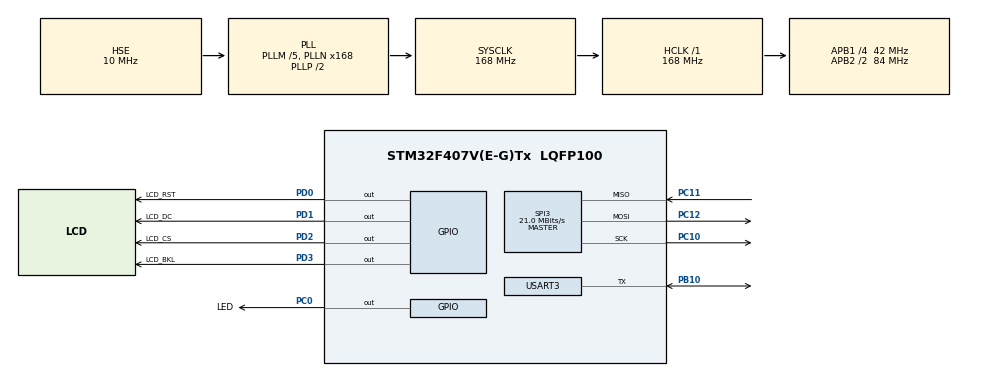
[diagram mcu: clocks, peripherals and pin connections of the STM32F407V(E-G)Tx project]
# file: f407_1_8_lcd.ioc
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Dma.Request0=SPI3_TX
Dma.SPI3_TX.0.Direction=DMA_MEMORY_TO_PERIPH
Dma.SPI3_TX.0.FIFOMode=DMA_FIFOMODE_DISABLE
Dma.SPI3_TX.0.Instance=DMA1_Stream5
Dma.SPI3_TX.0.MemDataAlignment=DMA_MDATAALIGN_BYTE
Dma.SPI3_TX.0.MemInc=DMA_MINC_ENABLE
Dma.SPI3_TX.0.Mode=DMA_NORMAL
Dma.SPI3_TX.0.PeriphDataAlignment=DMA_PDATAALIGN_BYTE
Dma.SPI3_TX.0.PeriphInc=DMA_PINC_DISABLE
Dma.SPI3_TX.0.Priority=DMA_PRIORITY_MEDIUM
Mcu.Family=STM32F4
Mcu.Name=STM32F407V(E-G)Tx
Mcu.Package=LQFP100
NVIC.DMA1_Stream5_IRQn=true\:0\:0\:false\:false\:true\:false\:true\:true
NVIC.PriorityGroup=NVIC_PRIORITYGROUP_4
NVIC.SPI3_IRQn=true\:0\:0\:false\:false\:true\:true\:true\:true
NVIC.TIM2_IRQn=true\:4\:0\:true\:false\:true\:true\:true\:true
NVIC.USART3_IRQn=true\:2\:0\:true\:false\:true\:true\:true\:true
PA13.Mode=Serial_Wire
PA13.Signal=SYS_JTMS-SWDIO
PA14.Mode=Serial_Wire
PA14.Signal=SYS_JTCK-SWCLK
PB10.Mode=Half_duplex(single_wire_mode)
PB10.Signal=USART3_TX
PC0.GPIO_Label=LED
PC0.Signal=GPIO_Output
PC10.Mode=Full_Duplex_Master
PC10.Signal=SPI3_SCK
PC11.Mode=Full_Duplex_Master
PC11.Signal=SPI3_MISO
PC12.Mode=Full_Duplex_Master
PC12.Signal=SPI3_MOSI
PD0.GPIO_Label=LCD_RST
PD0.Signal=GPIO_Output
PD1.GPIO_Label=LCD_DC
PD1.Signal=GPIO_Output
PD2.GPIO_Label=LCD_CS
PD2.Signal=GPIO_Output
PD3.GPIO_Label=LCD_BKL
PD3.Signal=GPIO_Output
PH0-OSC_IN.Mode=HSE-External-Oscillator
PH0-OSC_IN.Signal=RCC_OSC_IN
PH1-OSC_OUT.Mode=HSE-External-Oscillator
PH1-OSC_OUT.Signal=RCC_OSC_OUT
ProjectManager.HeapSize=0x2000
ProjectManager.StackSize=0x400
ProjectManager.TargetToolchain=STM32CubeIDE
RCC.48MHZClocksFreq_Value=48000000
RCC.AHBFreq_Value=168000000
RCC.APB1CLKDivider=RCC_HCLK_DIV4
RCC.APB1Freq_Value=42000000
RCC.APB1TimFreq_Value=84000000
RCC.APB2CLKDivider=RCC_HCLK_DIV2
RCC.APB2Freq_Value=84000000
RCC.APB2TimFreq_Value=168000000
RCC.CortexFreq_Value=168000000
RCC.HCLKFreq_Value=168000000
RCC.HSE_VALUE=10000000
RCC.HSI_VALUE=16000000
RCC.LSE_VALUE=32768
RCC.PLLM=5
RCC.PLLN=168
RCC.PLLQ=7
RCC.PLLSourceVirtual=RCC_PLLSOURCE_HSE
RCC.SYSCLKFreq_VALUE=168000000
RCC.SYSCLKSource=RCC_SYSCLKSOURCE_PLLCLK
RCC.VCOOutputFreq_Value=336000000
SPI3.BaudRatePrescaler=SPI_BAUDRATEPRESCALER_2
SPI3.CalculateBaudRate=21.0 MBits/s
SPI3.Direction=SPI_DIRECTION_2LINES
SPI3.Mode=SPI_MODE_MASTER
SPI3.VirtualType=VM_MASTER
TIM2.Period=84000
TIM2.Prescaler=1000
USART3.VirtualMode=VM_ASYNC
VP_CRC_VS_CRC.Mode=CRC_Activate
VP_TIM2_VS_ClockSourceINT.Mode=Internal
board=custom

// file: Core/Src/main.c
/* USER CODE BEGIN Header */
/**
  ******************************************************************************
  * @file           : main.c
  * @brief          : Main program body
  ******************************************************************************
  * @attention
  *
  * Copyright (c) 2023 STMicroelectronics.
  * All rights reserved.
  *
  * This software is licensed under terms that can be found in the LICENSE file
  * in the root directory of this software component.
  * If no LICENSE file comes with this software, it is provided AS-IS.
  *
  ******************************************************************************
  */
/* USER CODE END Header */
#include "main.h"

/* USER CODE BEGIN Includes */
#include "OneWire.h"
#include "GUI.h"
#include "Dialog.h"
#include "stdio.h"
#include "math.h"
#include "string.h"
/* USER CODE END Includes */

/* USER CODE BEGIN PTD */
extern GUI_CONST_STORAGE GUI_BITMAP bmlinux;
extern GUI_CONST_STORAGE GUI_FONT GUI_FontBNazanin36;
extern GUI_CONST_STORAGE GUI_FONT GUI_FontBNazanin18;
extern GUI_CONST_STORAGE GUI_FONT GUI_FontBTitr24;
extern GUI_CONST_STORAGE GUI_FONT GUI_Font2Nazanin30;
TEXT_Handle texts[5];
extern WM_HWIN CreateWindow(WM_HWIN parent);
WM_HWIN my_win;
/* USER CODE END PTD */

CRC_HandleTypeDef hcrc;

SPI_HandleTypeDef hspi3;
DMA_HandleTypeDef hdma_spi3_tx;

TIM_HandleTypeDef htim2;

UART_HandleTypeDef huart3;

void SystemClock_Config(void);
static void MX_GPIO_Init(void);
static void MX_DMA_Init(void);
static void MX_SPI3_Init(void);
static void MX_USART3_UART_Init(void);
static void MX_TIM2_Init(void);
static void MX_CRC_Init(void);

int main(void)
{

  /* MCU Configuration--------------------------------------------------------*/

  /* Reset of all peripherals, Initializes the Flash interface and the Systick. */
  HAL_Init();

  /* Configure the system clock */
  SystemClock_Config();

  /* Initialize all configured peripherals */
  MX_GPIO_Init();
  MX_DMA_Init();
  MX_SPI3_Init();
  MX_USART3_UART_Init();
  MX_TIM2_Init();
  MX_CRC_Init();
  /* USER CODE BEGIN 2 */
  HAL_TIM_Base_Start_IT(&htim2);
   HAL_GPIO_WritePin(LCD_BKL_GPIO_Port, LCD_BKL_Pin, GPIO_PIN_SET);

   WM_SetCreateFlags(WM_CF_MEMDEV);
   GUI_Init();
//   GUI_SetBkColor(GUI_WHITE);
   GUI_Clear();
   GUI_DrawBitmap(&bmlinux, 0, 0);
   HAL_Delay(1000);
   GUI_Clear();
//   GUI_SetColor(GUI_WHITE);
//   GUI_DrawLine(0, 0, 128 - 1, 160 -1);
//   HAL_Delay(2000);
//   GUI_Clear();

   GUI_UC_SetEncodeUTF8(); /* Enable UTF8 decoding */
   GUI_UC_EnableBIDI(1);   /* Enable bidirectional text */

   GUI_SetFont(&GUI_Font2Nazanin30);
   GUI_SetColor(GUI_RED);
   GUI_DispStringAt("پروژه کسری\n خدمت باباعباسی", 1, 15);
   GUI_SetColor(GUI_BLUE);
   GUI_DispStringAt("پروژه نمایشگر ", 1, 90);
   HAL_Delay(2000);
   get_ROMid();
   GUI_Clear();

   my_win = CreateWindow(WM_GetDesktopWindow());
   GUI_Exec();
   //hWin = GUI_CreateDialogBox(_aDialogCreate, GUI_COUNTOF(_aDialogCreate), _cbDialog,WM_GetDesktopWindow(), 0, 0);
  /* USER CODE END 2 */

  /* Infinite loop */
  /* USER CODE BEGIN WHILE */
  while (1)
  {
	  get_Temperature();
	  //GUI_Clear();
	  WM_InvalidateWindow(my_win);
	  GUI_Exec();
	  HAL_Delay(800);

    /* USER CODE END WHILE */

  }
}

void SystemClock_Config(void)
{
  RCC_OscInitTypeDef RCC_OscInitStruct = {0};
  RCC_ClkInitTypeDef RCC_ClkInitStruct = {0};

  /** Configure the main internal regulator output voltage
  */
  __HAL_RCC_PWR_CLK_ENABLE();
  __HAL_PWR_VOLTAGESCALING_CONFIG(PWR_REGULATOR_VOLTAGE_SCALE1);

  /** Initializes the RCC Oscillators according to the specified parameters
  * in the RCC_OscInitTypeDef structure.
  */
  RCC_OscInitStruct.OscillatorType = RCC_OSCILLATORTYPE_HSE;
  RCC_OscInitStruct.HSEState = RCC_HSE_ON;
  RCC_OscInitStruct.PLL.PLLState = RCC_PLL_ON;
  RCC_OscInitStruct.PLL.PLLSource = RCC_PLLSOURCE_HSE;
  RCC_OscInitStruct.PLL.PLLM = 5;
  RCC_OscInitStruct.PLL.PLLN = 168;
  RCC_OscInitStruct.PLL.PLLP = RCC_PLLP_DIV2;
  RCC_OscInitStruct.PLL.PLLQ = 7;
  if (HAL_RCC_OscConfig(&RCC_OscInitStruct) != HAL_OK)
  {
    Error_Handler();
  }

  /** Initializes the CPU, AHB and APB buses clocks
  */
  RCC_ClkInitStruct.ClockType = RCC_CLOCKTYPE_HCLK|RCC_CLOCKTYPE_SYSCLK
                              |RCC_CLOCKTYPE_PCLK1|RCC_CLOCKTYPE_PCLK2;
  RCC_ClkInitStruct.SYSCLKSource = RCC_SYSCLKSOURCE_PLLCLK;
  RCC_ClkInitStruct.AHBCLKDivider = RCC_SYSCLK_DIV1;
  RCC_ClkInitStruct.APB1CLKDivider = RCC_HCLK_DIV4;
  RCC_ClkInitStruct.APB2CLKDivider = RCC_HCLK_DIV2;

  if (HAL_RCC_ClockConfig(&RCC_ClkInitStruct, FLASH_LATENCY_5) != HAL_OK)
  {
    Error_Handler();
  }
}

static void MX_CRC_Init(void)
{

  hcrc.Instance = CRC;
  if (HAL_CRC_Init(&hcrc) != HAL_OK)
  {
    Error_Handler();
  }

}

static void MX_SPI3_Init(void)
{

  /* SPI3 parameter configuration*/
  hspi3.Instance = SPI3;
  hspi3.Init.Mode = SPI_MODE_MASTER;
  hspi3.Init.Direction = SPI_DIRECTION_2LINES;
  hspi3.Init.DataSize = SPI_DATASIZE_8BIT;
  hspi3.Init.CLKPolarity = SPI_POLARITY_LOW;
  hspi3.Init.CLKPhase = SPI_PHASE_1EDGE;
  hspi3.Init.NSS = SPI_NSS_SOFT;
  hspi3.Init.BaudRatePrescaler = SPI_BAUDRATEPRESCALER_2;
  hspi3.Init.FirstBit = SPI_FIRSTBIT_MSB;
  hspi3.Init.TIMode = SPI_TIMODE_DISABLE;
  hspi3.Init.CRCCalculation = SPI_CRCCALCULATION_DISABLE;
  hspi3.Init.CRCPolynomial = 10;
  if (HAL_SPI_Init(&hspi3) != HAL_OK)
  {
    Error_Handler();
  }

}

static void MX_TIM2_Init(void)
{

  TIM_ClockConfigTypeDef sClockSourceConfig = {0};
  TIM_MasterConfigTypeDef sMasterConfig = {0};

  htim2.Instance = TIM2;
  htim2.Init.Prescaler = 1000;
  htim2.Init.CounterMode = TIM_COUNTERMODE_UP;
  htim2.Init.Period = 84000;
  htim2.Init.ClockDivision = TIM_CLOCKDIVISION_DIV1;
  htim2.Init.AutoReloadPreload = TIM_AUTORELOAD_PRELOAD_DISABLE;
  if (HAL_TIM_Base_Init(&htim2) != HAL_OK)
  {
    Error_Handler();
  }
  sClockSourceConfig.ClockSource = TIM_CLOCKSOURCE_INTERNAL;
  if (HAL_TIM_ConfigClockSource(&htim2, &sClockSourceConfig) != HAL_OK)
  {
    Error_Handler();
  }
  sMasterConfig.MasterOutputTrigger = TIM_TRGO_RESET;
  sMasterConfig.MasterSlaveMode = TIM_MASTERSLAVEMODE_DISABLE;
  if (HAL_TIMEx_MasterConfigSynchronization(&htim2, &sMasterConfig) != HAL_OK)
  {
    Error_Handler();
  }

}

static void MX_USART3_UART_Init(void)
{

  huart3.Instance = USART3;
  huart3.Init.BaudRate = 115200;
  huart3.Init.WordLength = UART_WORDLENGTH_8B;
  huart3.Init.StopBits = UART_STOPBITS_1;
  huart3.Init.Parity = UART_PARITY_NONE;
  huart3.Init.Mode = UART_MODE_TX_RX;
  huart3.Init.HwFlowCtl = UART_HWCONTROL_NONE;
  huart3.Init.OverSampling = UART_OVERSAMPLING_16;
  if (HAL_HalfDuplex_Init(&huart3) != HAL_OK)
  {
    Error_Handler();
  }

}

static void MX_DMA_Init(void)
{

  /* DMA controller clock enable */
  __HAL_RCC_DMA1_CLK_ENABLE();

  /* DMA interrupt init */
  /* DMA1_Stream5_IRQn interrupt configuration */
  HAL_NVIC_SetPriority(DMA1_Stream5_IRQn, 0, 0);
  HAL_NVIC_EnableIRQ(DMA1_Stream5_IRQn);

}

static void MX_GPIO_Init(void)
{
  GPIO_InitTypeDef GPIO_InitStruct = {0};

  /* GPIO Ports Clock Enable */
  __HAL_RCC_GPIOH_CLK_ENABLE();
  __HAL_RCC_GPIOC_CLK_ENABLE();
  __HAL_RCC_GPIOB_CLK_ENABLE();
  __HAL_RCC_GPIOA_CLK_ENABLE();
  __HAL_RCC_GPIOD_CLK_ENABLE();

  /*Configure GPIO pin Output Level */
  HAL_GPIO_WritePin(LED_GPIO_Port, LED_Pin, GPIO_PIN_RESET);

  /*Configure GPIO pin Output Level */
  HAL_GPIO_WritePin(GPIOD, LCD_RST_Pin|LCD_DC_Pin|LCD_CS_Pin|LCD_BKL_Pin, GPIO_PIN_RESET);

  /*Configure GPIO pin : LED_Pin */
  GPIO_InitStruct.Pin = LED_Pin;
  GPIO_InitStruct.Mode = GPIO_MODE_OUTPUT_PP;
  GPIO_InitStruct.Pull = GPIO_NOPULL;
  GPIO_InitStruct.Speed = GPIO_SPEED_FREQ_LOW;
  HAL_GPIO_Init(LED_GPIO_Port, &GPIO_InitStruct);

  /*Configure GPIO pins : LCD_RST_Pin LCD_DC_Pin LCD_CS_Pin LCD_BKL_Pin */
  GPIO_InitStruct.Pin = LCD_RST_Pin|LCD_DC_Pin|LCD_CS_Pin|LCD_BKL_Pin;
  GPIO_InitStruct.Mode = GPIO_MODE_OUTPUT_PP;
  GPIO_InitStruct.Pull = GPIO_NOPULL;
  GPIO_InitStruct.Speed = GPIO_SPEED_FREQ_LOW;
  HAL_GPIO_Init(GPIOD, &GPIO_InitStruct);

}

/* USER CODE BEGIN 4 */
void HAL_TIM_PeriodElapsedCallback(TIM_HandleTypeDef *htim){
	if( htim == &htim2){
		HAL_GPIO_TogglePin(LED_GPIO_Port, LED_Pin);
	}
}
/* USER CODE END 4 */

void Error_Handler(void)
{
  __disable_irq();
  while (1)
  {
  }
}
